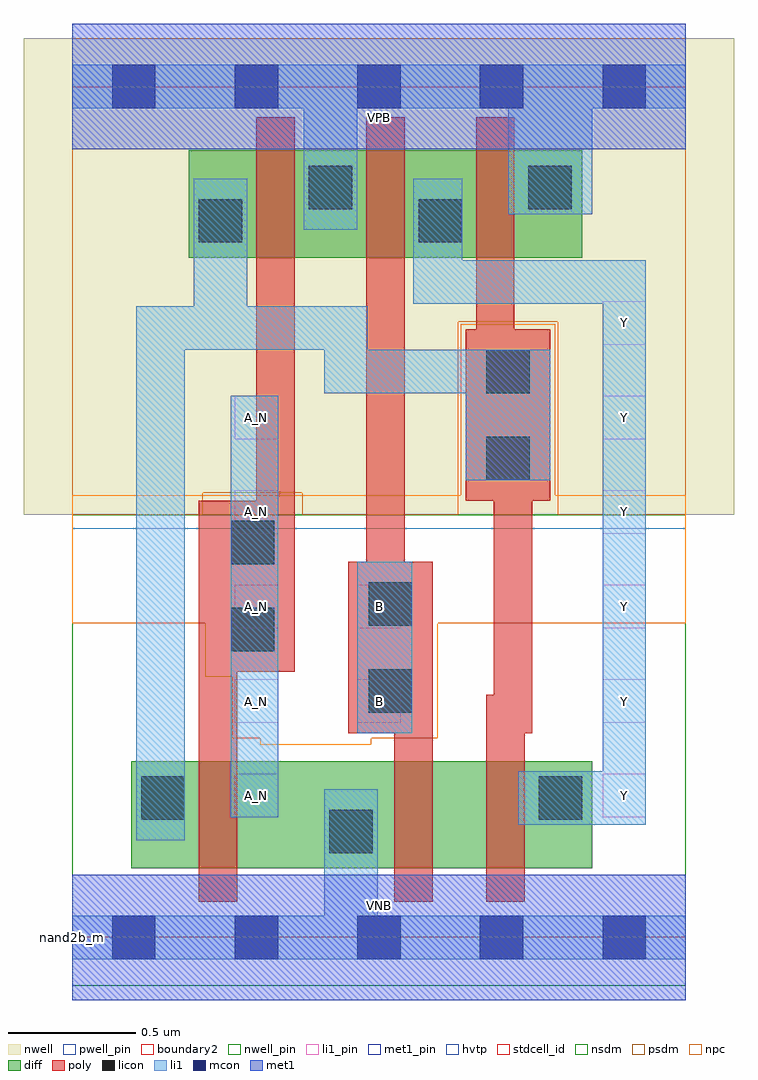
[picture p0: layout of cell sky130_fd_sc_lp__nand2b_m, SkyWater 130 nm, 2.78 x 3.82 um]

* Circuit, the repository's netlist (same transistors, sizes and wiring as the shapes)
* Copyright 2020 The SkyWater PDK Authors
*
* Licensed under the Apache License, Version 2.0 (the "License");
* you may not use this file except in compliance with the License.
* You may obtain a copy of the License at
*
*     https://www.apache.org/licenses/LICENSE-2.0
*
* Unless required by applicable law or agreed to in writing, software
* distributed under the License is distributed on an "AS IS" BASIS,
* WITHOUT WARRANTIES OR CONDITIONS OF ANY KIND, either express or implied.
* See the License for the specific language governing permissions and
* limitations under the License.
*
* SPDX-License-Identifier: Apache-2.0

.SUBCKT sky130_fd_sc_lp__nand2b_m A_N B VGND VNB VPB VPWR Y
*.PININFO A_N:I B:I VGND:I VNB:I VPB:I VPWR:I Y:O
MMP0 Y A VPWR VPB sky130_fd_pr__pfet_01v8_hvt m=1 w=0.42U l=0.15U mult=1 sa=0.265
+ sb=0.265 sd=0.28 area=0.063 perim=1.14
MMP1 Y B VPWR VPB sky130_fd_pr__pfet_01v8_hvt m=1 w=0.42U l=0.15U mult=1 sa=0.265
+ sb=0.265 sd=0.28 area=0.063 perim=1.14
MMIP0 A A_N VPWR VPB sky130_fd_pr__pfet_01v8_hvt m=1 w=0.42U l=0.15U mult=1 sa=0.265
+ sb=0.265 sd=0.28 area=0.063 perim=1.14
MMN0 Y A sndA VNB sky130_fd_pr__nfet_01v8 m=1 w=0.42U l=0.15U mult=1 sa=0.265 sb=0.265
+ sd=0.28 area=0.063 perim=1.14
MMN1 sndA B VGND VNB sky130_fd_pr__nfet_01v8 m=1 w=0.42U l=0.15U mult=1 sa=0.265
+ sb=0.265 sd=0.28 area=0.063 perim=1.14
MMIN0 A A_N VGND VNB sky130_fd_pr__nfet_01v8 m=1 w=0.42U l=0.15U mult=1 sa=0.265
+ sb=0.265 sd=0.28 area=0.063 perim=1.14
.ENDS sky130_fd_sc_lp__nand2b_m

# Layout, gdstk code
import gdstk
lib = gdstk.Library(unit=1e-6, precision=1e-09)
def R(c, l, rs):  # rectangles x0, y0, x1, y1
    for r in rs: c.add(gdstk.rectangle(r[:2], r[2:], *l))
def A(c, l, x, y, w, h, nx, ny, dx, dy):  # array of equal rectangles
    R(c, l, [(x+i*dx, y+j*dy, x+i*dx+w, y+j*dy+h) for i in range(nx) for j in range(ny)])
def P(c, l, *ps):  # polygons
    for p in ps: c.add(gdstk.Polygon(p, *l))
nwell_pin = (64, 16)
nwell = (64, 20)
diff = (65, 20)
poly = (66, 20)
licon = (66, 44)
li1_pin = (67, 16)
li1 = (67, 20)
mcon = (67, 44)
met1_pin = (68, 16)
met1 = (68, 20)
hvtp = (78, 44)
stdcell_id = (81, 4)
nsdm = (93, 44)
psdm = (94, 20)
npc = (95, 20)
pwell_pin = (122, 16)
boundary2 = (236, 0)

sky130_fd_sc_lp__nand2b_ = lib.new_cell('sky130_fd_sc_lp__nand2b_m')
R(sky130_fd_sc_lp__nand2b_, nwell_pin, [(0,3.085,2.4,3.33)])
R(sky130_fd_sc_lp__nand2b_, nwell, [(-0.19,1.655,2.59,3.52)])
R(sky130_fd_sc_lp__nand2b_, diff, [(0.23,0.27,2.035,0.69), (0.455,2.66,1.995,3.08)])
P(sky130_fd_sc_lp__nand2b_, poly, [(0.87,3.21),(0.72,3.21),(0.72,1.71),(0.495,1.71),(0.495,0.14),(0.645,0.14),(0.645,1.04),(0.87,1.04)],
  [(1.41,1.47),(1.3,1.47),(1.3,3.21),(1.15,3.21),(1.15,1.47),(1.08,1.47),(1.08,0.8),(1.26,0.8),(1.26,0.14),(1.41,0.14)],
  [(1.87,2.38),(1.73,2.38),(1.73,3.21),(1.58,3.21),(1.58,2.38),(1.54,2.38),(1.54,1.71),(1.65,1.71),(1.65,0.95),(1.62,0.95),(1.62,0.14),(1.77,0.14),(1.77,0.8),(1.8,0.8),(1.8,1.71),(1.87,1.71)])
R(sky130_fd_sc_lp__nand2b_, licon, [(1.005,0.33,1.175,0.5), (0.27,0.46,0.44,0.63), (1.825,0.46,1.995,0.63), (1.16,0.88,1.33,1.05), (0.62,1.12,0.79,1.29), (1.16,1.22,1.33,1.39), (0.62,1.46,0.79,1.63), (1.62,1.79,1.79,1.96), (1.62,2.13,1.79,2.3), (0.495,2.72,0.665,2.89), (1.355,2.72,1.525,2.89), (0.925,2.85,1.095,3.02), (1.785,2.85,1.955,3.02)])
A(sky130_fd_sc_lp__nand2b_, li1_pin, 0.635, 0.47, 0.17, 0.17, 1, 5, 0, 0.37)
A(sky130_fd_sc_lp__nand2b_, li1_pin, 2.075, 0.47, 0.17, 0.17, 1, 6, 0, 0.37)
R(sky130_fd_sc_lp__nand2b_, li1_pin, [(1.115,0.84,1.285,1.01), (1.115,1.21,1.285,1.38)])
R(sky130_fd_sc_lp__nand2b_, li1, [(0.62,0.47,0.805,2.12), (1.115,0.8,1.33,1.47)])
P(sky130_fd_sc_lp__nand2b_, li1, [(1.705,2.83),(1.705,3.245),(1.115,3.245),(1.115,2.77),(0.905,2.77),(0.905,3.245),(0,3.245),(0,3.415),(2.4,3.415),(2.4,3.245),(2.035,3.245),(2.035,2.83)],
  [(0.985,0.085),(0.985,0.58),(1.195,0.58),(1.195,0.085),(2.4,0.085),(2.4,-0.085),(0,-0.085),(0,0.085)],
  [(0.985,2.13),(0.985,2.3),(0.44,2.3),(0.44,0.38),(0.25,0.38),(0.25,2.47),(0.475,2.47),(0.475,2.97),(0.685,2.97),(0.685,2.47),(1.155,2.47),(1.155,2.3),(1.87,2.3),(1.87,1.79),(1.54,1.79),(1.54,2.13)],
  [(1.525,2.65),(2.245,2.65),(2.245,0.44),(1.745,0.44),(1.745,0.65),(2.075,0.65),(2.075,2.48),(1.335,2.48),(1.335,2.97),(1.525,2.97)])
A(sky130_fd_sc_lp__nand2b_, mcon, 0.155, -0.085, 0.17, 0.17, 5, 2, 0.48, 3.33)
R(sky130_fd_sc_lp__nand2b_, met1_pin, [(0,0,2.4,0.245), (0,3.085,2.4,3.33)])
R(sky130_fd_sc_lp__nand2b_, met1, [(0,-0.245,2.4,0.245), (0,3.085,2.4,3.575)])
R(sky130_fd_sc_lp__nand2b_, hvtp, [(0,1.6,2.4,3.33)])
R(sky130_fd_sc_lp__nand2b_, stdcell_id, [(0,0,2.4,3.33)])
R(sky130_fd_sc_lp__nand2b_, nsdm, [(0,-0.19,2.4,1.655)])
P(sky130_fd_sc_lp__nand2b_, psdm, [(2.4,3.52),(0,3.52),(0,1.655),(0.51,1.655),(0.51,1.74),(0.9,1.74),(0.9,1.655),(1.51,1.655),(1.51,2.41),(1.9,2.41),(1.9,1.655),(2.4,1.655)])
P(sky130_fd_sc_lp__nand2b_, npc, [(2.4,1.73),(1.89,1.73),(1.89,2.4),(1.52,2.4),(1.52,1.73),(0,1.73),(0,1.23),(0.52,1.23),(0.52,1.02),(0.625,1.02),(0.625,0.78),(0.735,0.78),(0.735,0.755),(1.17,0.755),(1.17,0.78),(1.43,0.78),(1.43,1.23),(2.4,1.23)])
R(sky130_fd_sc_lp__nand2b_, pwell_pin, [(0,0,2.4,0.245)])
R(sky130_fd_sc_lp__nand2b_, boundary2, [(0,0,2.4,3.33)])
sky130_fd_sc_lp__nand2b_.add(gdstk.Label('VNB', (1.2,0.123), layer=64, texttype=59))
sky130_fd_sc_lp__nand2b_.add(gdstk.Label('VPB', (1.2,3.208), layer=64, texttype=5))
sky130_fd_sc_lp__nand2b_.add(gdstk.Label('nand2b_m', (0,0), layer=83, texttype=44))
sky130_fd_sc_lp__nand2b_.add(gdstk.Label('VPWR', (1.2,3.208), layer=68, texttype=5))
sky130_fd_sc_lp__nand2b_.add(gdstk.Label('VGND', (1.2,0.123), layer=68, texttype=5))
sky130_fd_sc_lp__nand2b_.add(gdstk.Label('B', (1.2,0.925), layer=67, texttype=5))
sky130_fd_sc_lp__nand2b_.add(gdstk.Label('B', (1.2,1.295), layer=67, texttype=5))
sky130_fd_sc_lp__nand2b_.add(gdstk.Label('A_N', (0.72,0.555), layer=67, texttype=5))
sky130_fd_sc_lp__nand2b_.add(gdstk.Label('A_N', (0.72,0.925), layer=67, texttype=5))
sky130_fd_sc_lp__nand2b_.add(gdstk.Label('A_N', (0.72,1.295), layer=67, texttype=5))
sky130_fd_sc_lp__nand2b_.add(gdstk.Label('A_N', (0.72,1.665), layer=67, texttype=5))
sky130_fd_sc_lp__nand2b_.add(gdstk.Label('A_N', (0.72,2.035), layer=67, texttype=5))
sky130_fd_sc_lp__nand2b_.add(gdstk.Label('Y', (2.16,0.555), layer=67, texttype=5))
sky130_fd_sc_lp__nand2b_.add(gdstk.Label('Y', (2.16,0.925), layer=67, texttype=5))
sky130_fd_sc_lp__nand2b_.add(gdstk.Label('Y', (2.16,1.295), layer=67, texttype=5))
sky130_fd_sc_lp__nand2b_.add(gdstk.Label('Y', (2.16,1.665), layer=67, texttype=5))
sky130_fd_sc_lp__nand2b_.add(gdstk.Label('Y', (2.16,2.035), layer=67, texttype=5))
sky130_fd_sc_lp__nand2b_.add(gdstk.Label('Y', (2.16,2.405), layer=67, texttype=5))

lib.write_gds('sky130_fd_sc_lp__nand2b_m.gds')
